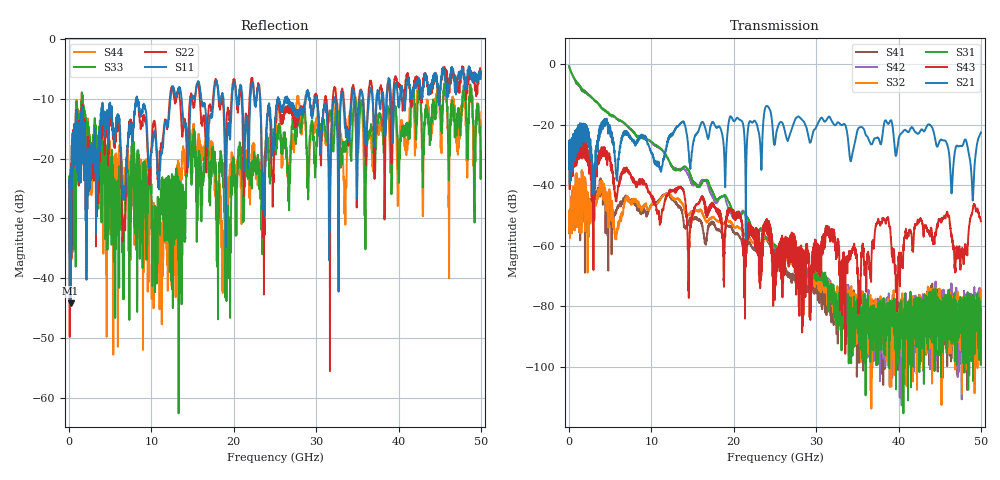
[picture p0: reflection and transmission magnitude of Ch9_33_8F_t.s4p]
!Agilent Technologies,N5247A,US51170199,A.09.90.13
!Agilent N5247A: A.09.90.13
!Date: Wednesday, December 16, 2015 11:01:44
!Correction: S11(Full 4 Port(1,2,3,4))
!S12(Full 4 Port(1,2,3,4))
!S13(Full 4 Port(1,2,3,4))
!S14(Full 4 Port(1,2,3,4))
!S21(Full 4 Port(1,2,3,4))
!S22(Full 4 Port(1,2,3,4))
!S23(Full 4 Port(1,2,3,4))
!S24(Full 4 Port(1,2,3,4))
!S31(Full 4 Port(1,2,3,4))
!S32(Full 4 Port(1,2,3,4))
!S33(Full 4 Port(1,2,3,4))
!S34(Full 4 Port(1,2,3,4))
!S41(Full 4 Port(1,2,3,4))
!S42(Full 4 Port(1,2,3,4))
!S43(Full 4 Port(1,2,3,4))
!S44(Full 4 Port(1,2,3,4))
!S4P File: Measurements: <S11,S12,S13,S14>,
!<S21,S22,S23,S24>,
!<S31,S32,S33,S34>,
!<S41,S42,S43,S44>:
# Hz S  dB  R 50
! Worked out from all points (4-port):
!   3201 points, 10 MHz to 50 GHz, reference 50 ohm
!   strongest paths, dB at 10 MHz, 12.51 GHz, 25 GHz, 37.5 GHz, 50 GHz:
!     S21: -34.4, -23.5, -26.4, -24.3, -22.6
!     S43: -34.7, -41.9, -63.6, -52.1, -51.9
!     S31: -0.7, -33.8, -60.1, -96.7, -82.1
!     S32: -55.4, -44.1, -60.3, -88.8, -78.5
!     S42: -0.8, -33.9, -60.5, -81.3, -77.4
!     S41: -55.9, -44.8, -61.8, -89.6, -83.1
!   lowest |S11| = -44.2 dB at 181.8 MHz (marker M1), VSWR 1.01, Z = 49.7 + j0.552 ohm
!   |S11| at or under -10 dB: start of sweep to 8.126 GHz; 8.253 GHz to 12.3 GHz (4.05 GHz wide, 39.4 % of centre); 23.21 GHz to 25.35 GHz (2.143 GHz wide, 8.82 % of centre)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
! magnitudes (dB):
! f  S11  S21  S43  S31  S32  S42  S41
! 10 MHz  -23.5  -34.4  -34.7  -0.7  -55.4  -0.8  -55.9
! 181.8 MHz  -44.2  -36.7  -38.7  -2.2  -48.0  -2.3  -48.6
! 12.12 GHz  -13.4  -24.7  -43.0  -31.8  -42.6  -31.9  -42.8
! 35.22 GHz  -10.7  -21.0  -73.5  -83.7  -78.4  -76.6  -89.4
! 37.47 GHz  -8.6  -24.3  -52.3  -91.0  -83.9  -80.9  -77.5
! 39.75 GHz  -7.5  -29.8  -72.6  -87.3  -86.3  -79.2  -85.3
! 50 GHz  -5.7  -22.6  -51.9  -82.1  -78.5  -77.4  -83.1
